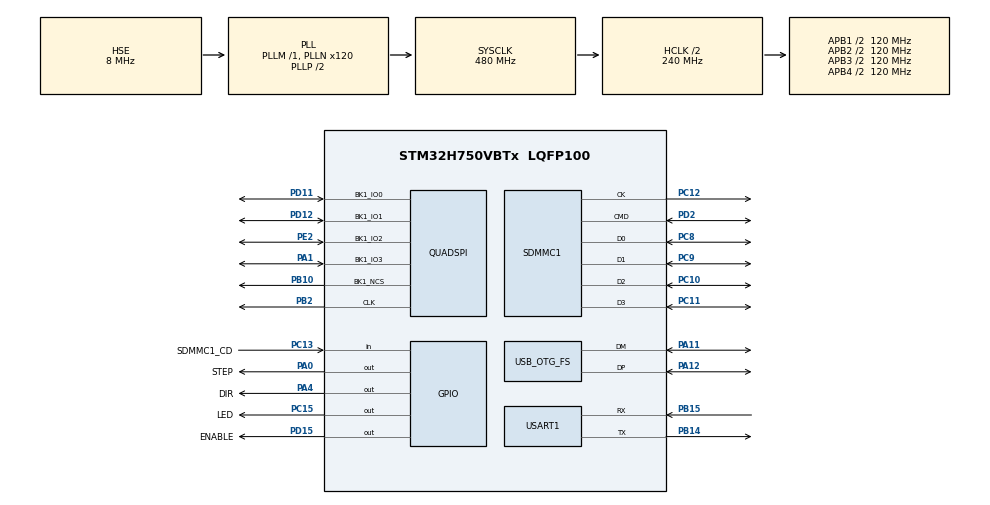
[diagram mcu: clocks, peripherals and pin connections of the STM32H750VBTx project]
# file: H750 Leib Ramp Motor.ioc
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CORTEX_M7.CPU_DCache=Enabled
CORTEX_M7.CPU_ICache=Enabled
Mcu.Family=STM32H7
Mcu.Name=STM32H750VBTx
Mcu.Package=LQFP100
NVIC.OTG_FS_EP1_IN_IRQn=true\:3\:0\:true\:false\:true\:true\:true
NVIC.OTG_FS_EP1_OUT_IRQn=true\:3\:0\:true\:false\:true\:true\:true
NVIC.OTG_FS_IRQn=true\:0\:0\:false\:false\:true\:false\:true
NVIC.PriorityGroup=NVIC_PRIORITYGROUP_4
NVIC.TIM5_IRQn=true\:0\:0\:false\:false\:true\:true\:true
NVIC.TIM6_DAC_IRQn=true\:1\:0\:true\:false\:true\:true\:true
NVIC.USART1_IRQn=true\:4\:0\:true\:false\:true\:true\:true
PA0.GPIO_Label=STEP
PA0.Signal=GPIO_Output
PA1.Mode=Single Bank 1
PA1.Signal=QUADSPI_BK1_IO3
PA11.Mode=Device_Only
PA11.Signal=USB_OTG_FS_DM
PA12.Mode=Device_Only
PA12.Signal=USB_OTG_FS_DP
PA13\ (JTMS/SWDIO).Mode=Serial_Wire
PA13\ (JTMS/SWDIO).Signal=DEBUG_JTMS-SWDIO
PA14\ (JTCK/SWCLK).Mode=Serial_Wire
PA14\ (JTCK/SWCLK).Signal=DEBUG_JTCK-SWCLK
PA4.GPIO_Label=DIR
PA4.Signal=GPIO_Output
PB10.Mode=Single Bank 1
PB10.Signal=QUADSPI_BK1_NCS
PB14.Mode=Asynchronous
PB14.Signal=USART1_TX
PB15.Mode=Asynchronous
PB15.Signal=USART1_RX
PB2.Mode=Single Bank 1
PB2.Signal=QUADSPI_CLK
PC10.Mode=SD_4_bits_Wide_bus
PC10.Signal=SDMMC1_D2
PC11.Mode=SD_4_bits_Wide_bus
PC11.Signal=SDMMC1_D3
PC12.Mode=SD_4_bits_Wide_bus
PC12.Signal=SDMMC1_CK
PC13.GPIO_Label=SDMMC1_CD
PC13.Signal=GPIO_Input
PC15-OSC32_OUT\ (OSC32_OUT).GPIO_Label=LED
PC15-OSC32_OUT\ (OSC32_OUT).Signal=GPIO_Output
PC8.Mode=SD_4_bits_Wide_bus
PC8.Signal=SDMMC1_D0
PC9.Mode=SD_4_bits_Wide_bus
PC9.Signal=SDMMC1_D1
PD11.Mode=Single Bank 1
PD11.Signal=QUADSPI_BK1_IO0
PD12.Mode=Single Bank 1
PD12.Signal=QUADSPI_BK1_IO1
PD15.GPIO_Label=ENABLE
PD15.Signal=GPIO_Output
PD2.Mode=SD_4_bits_Wide_bus
PD2.Signal=SDMMC1_CMD
PE2.Mode=Single Bank 1
PE2.Signal=QUADSPI_BK1_IO2
PH0-OSC_IN\ (PH0).Mode=HSE-External-Oscillator
PH0-OSC_IN\ (PH0).Signal=RCC_OSC_IN
PH1-OSC_OUT\ (PH1).Mode=HSE-External-Oscillator
PH1-OSC_OUT\ (PH1).Signal=RCC_OSC_OUT
ProjectManager.HeapSize=0x200
ProjectManager.StackSize=0x400
ProjectManager.TargetToolchain=STM32CubeIDE
RCC.ADCFreq_Value=120000000
RCC.APB1Freq_Value=120000000
RCC.APB2Freq_Value=120000000
RCC.APB3Freq_Value=120000000
RCC.APB4Freq_Value=120000000
RCC.CortexFreq_Value=480000000
RCC.D1PPRE=RCC_APB3_DIV2
RCC.D2PPRE1=RCC_APB1_DIV2
RCC.D2PPRE2=RCC_APB2_DIV2
RCC.D3PPRE=RCC_APB4_DIV2
RCC.DIVM1=1
RCC.DIVM2=1
RCC.DIVN1=120
RCC.DIVN2=30
RCC.DIVQ1=20
RCC.DIVR2=10
RCC.HCLKFreq_Value=240000000
RCC.HPRE=RCC_HCLK_DIV2
RCC.HSE_VALUE=8000000
RCC.PLL2FRACN=0
RCC.PLLFRACN=0
RCC.QSPICLockSelection=RCC_QSPICLKSOURCE_PLL2
RCC.SDMMC1CLockSelection=RCC_SDMMCCLKSOURCE_PLL2
RCC.SYSCLKFreq_VALUE=480000000
RCC.SYSCLKSource=RCC_SYSCLKSOURCE_PLLCLK
RCC.USBFreq_Value=48000000
TIM5.Prescaler=240-1
TIM6.Period=24*2
TIM6.Prescaler=10-1
USART1.VirtualMode-Asynchronous=VM_ASYNC
USB_DEVICE.CLASS_NAME_FS=CDC
USB_DEVICE.VirtualMode-CDC_FS=Cdc
USB_DEVICE.VirtualModeFS=Cdc_FS
USB_OTG_FS.VirtualMode=Device_Only
VP_TIM5_VS_ClockSourceINT.Mode=Internal
VP_TIM6_VS_ClockSourceINT.Mode=Enable_Timer
VP_USB_DEVICE_VS_USB_DEVICE_CDC_FS.Mode=CDC_FS
board=custom

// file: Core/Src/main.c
/* USER CODE BEGIN Header */
/**
  ******************************************************************************
  * @file           : main.c
  * @brief          : Main program body
  ******************************************************************************
  * @attention
  *
  * <h2><center>&copy; Copyright (c) 2020 STMicroelectronics.
  * All rights reserved.</center></h2>
  *
  * This software component is licensed by ST under BSD 3-Clause license,
  * the "License"; You may not use this file except in compliance with the
  * License. You may obtain a copy of the License at:
  *                        opensource.org/licenses/BSD-3-Clause
  *
  ******************************************************************************
  */
/* USER CODE END Header */

#include "main.h"
#include "quadspi.h"
#include "sdmmc.h"
#include "tim.h"
#include "usart.h"
#include "usb_device.h"
#include "gpio.h"

/* USER CODE BEGIN Includes */
#include "usbd_cdc_if.h"
#include "StepperMotor.h"

/* USER CODE END Includes */

/* USER CODE BEGIN PD */
#define UART_RX_BUFFER_SIZE				20

/* USER CODE END PD */

/* USER CODE BEGIN PV */
static char* HelloMessage = "STM32H750 Leib Ramp V0.1\n";

float RxNumber = 0;
char Str[30] = "Pos :   ";
uint8_t UART_RxBuffer[10];
uint8_t UART_RxCmd[UART_RX_BUFFER_SIZE];

/* USER CODE END PV */

void SystemClock_Config(void);

/* USER CODE BEGIN 0 */

void SendOK(void)
{
	CDC_Transmit_FS((uint8_t*)("OK\n"), 3);
	HAL_UART_Transmit_IT(&huart1, (uint8_t*)("OK\n"), 3);
}

// 현재 위치를 통신포트로 전송한다.
void DisplayPosition(void)
{
	//sprintf(Str, "Pos : %9.2f\n", GetPosition());
	sprintf(Str, "Pos : %.3f\n", GetPosition());

	CDC_Transmit_FS((uint8_t *)Str, strlen(Str));
	HAL_UART_Transmit_IT(&huart1, (uint8_t *)Str, strlen(Str));
}

void DisplayInfo(void)
{
	char InfoStr[100];

	sprintf(InfoStr, "Acc : %ld\nSpd : %.3f\nPos : %.3f\n", GetAcceleration(), GetSpeed(), GetPosition());
	CDC_Transmit_FS((uint8_t *)InfoStr, strlen(InfoStr));
	HAL_UART_Transmit_IT(&huart1, (uint8_t *)InfoStr, strlen(InfoStr));
}

// 인터럽트 우선순위를 모터 타이머 보다 낮게 설정한다.
// 안그러면 모터가 틱틱거리기도 한다.
void HAL_SYSTICK_Callback(void)
{
	static int cnt = 0;

	cnt++;
	if(cnt > 500)
	{
		cnt = 0;

		HAL_GPIO_TogglePin(LED_GPIO_Port, LED_Pin);

		if(GetState() == STATE_BUSY)
		{
			DisplayPosition();
		}
	}
}

// usbd_cdc_if.c에서 데이터가 수신되면 불려지게 함
// 새로운 명령어(기능)을 추가하려면 여기에서 명령어를 추가하여 인식하게 한다.
void ExecuteCommand(uint8_t* Buf, uint32_t len)
{
	int Sign = 1, Point = 0, i;
	uint8_t cmd = 0;

	for(i = 0; i < len; i++ )
	{
    if((Buf[i] >= 'a') && (Buf[i] <= 'z')) Buf[i] = Buf[i] - 'a' + 'A';		// 대문자로 바꿈

		// 명령어 종류를 구분
		switch(Buf[i])
		{
			case 'A':	// 가속도 설정
			case 'S':	// 속도 설정
			case 'L':	// 현위치 재설정
			case 'G':	// 현위치 표시
			case 'D':	// 상대 위치 이동
			case 'P':	// 절대 위치 이동
			case 'E':	// 즉시 정지
			case 'I':	// 현재 설정 상태 표시
      cmd = Buf[i];
				break;

			default:
				continue;
		}
		if(cmd != 0) break;
	}
	if(i == len)	// 스트링안에 인식가능 명령어가 없슴.
	{
		CDC_Transmit_FS((uint8_t*)("NG\n"), 3);
		HAL_UART_Transmit_IT(&huart1, (uint8_t*)("NG\n"), 3);

		return;
	}

	// 전달된 값을 계산(문자열을 숫자로 바꿈)
	float Pow = 0.1f;
	RxNumber = 0.0f;
	for(; i < len; i++)
	{
		if(Buf[i] == '-') Sign = -1;
		if(Buf[i] == '.') Point = 1;
		if(Buf[i] < '0' || Buf[i] > '9') continue;

		if(Point)
		{
			//RxNumber += (Buf[i] - '0') * powf(0.1, Point);	// powf() 가 큰 함수라서 대체
			//Point++;
			RxNumber += (Buf[i] - '0') * Pow;
			Pow *= 0.1f;
		}
		else
		{
			RxNumber *= 10.0f;
			RxNumber += Buf[i] - '0';
		}
	}
	RxNumber *= Sign;

	// 명령어 실행
	switch(cmd)
	{
		case 'A':			// 가속도 설정
			SetAcceleration(RxNumber);
			SendOK();		// 즉시 처리 명령어 이므로 바로 응답함
			break;

		case 'S':			// 속도 설정
			SetSpeed(RxNumber);
      SendOK();
			break;

		case 'L':			// 현위치 재설정
			SetPosition(RxNumber);
      SendOK();
			break;

		case 'G':			// 현위치 표시
			DisplayPosition();
			break;

		case 'D':			// 상대 위치 이동
			MoveDistance(RxNumber);
			break;

		case 'P':			// 절대 위치 이동
			MovePosition(RxNumber);
			break;

		case 'E':			// 즉시 정지
			StopEMS();
      SendOK();
			break;

		case 'I':			// 현재 설정 상태 표시
			DisplayInfo();
			break;
	}
}

// 동작이 끝나면 불려지는 콜백 함수
void MoveEndCallback(void)
{
	sprintf(Str, "Pos : %.3f\nOK\n", GetPosition());
	CDC_Transmit_FS((uint8_t *)Str, strlen(Str));
	HAL_UART_Transmit_IT(&huart1, (uint8_t *)Str, strlen(Str));
}

// USART에서 명령이 오면 실행한다.
void HAL_UART_RxCpltCallback(UART_HandleTypeDef *huart)
{
	static int pos = 0;

  UART_RxCmd[pos] = UART_RxBuffer[0];
  if(pos < UART_RX_BUFFER_SIZE)
  {
  	pos++;
  }

  if(UART_RxBuffer[0] == '\n')
  {
  	ExecuteCommand(UART_RxCmd, pos);
  	pos = 0;
  }

  HAL_UART_Receive_IT(&huart1, UART_RxBuffer, 1);
}

/* USER CODE END 0 */

int main(void)
{

  /* Enable I-Cache---------------------------------------------------------*/
  SCB_EnableICache();

  /* Enable D-Cache---------------------------------------------------------*/
  SCB_EnableDCache();

  /* MCU Configuration--------------------------------------------------------*/

  /* Reset of all peripherals, Initializes the Flash interface and the Systick. */
  HAL_Init();

  /* Configure the system clock */
  SystemClock_Config();

  /* Initialize all configured peripherals */
  MX_GPIO_Init();
  MX_QUADSPI_Init();
  MX_SDMMC1_SD_Init();
  MX_USART1_UART_Init();
  MX_TIM6_Init();
  MX_USB_DEVICE_Init();
  MX_TIM5_Init();
  /* USER CODE BEGIN 2 */
  InitStepperMotor(25, 100);
  EnableMotor();

  /* USER CODE END 2 */

  /* Infinite loop */
  /* USER CODE BEGIN WHILE */
  HAL_UART_Transmit_IT(&huart1, (uint8_t *)HelloMessage, strlen(HelloMessage));
  HAL_UART_Receive_IT(&huart1, UART_RxBuffer, 1);   // USART1으로 1바이트씩 받자

  // USART으로 부터 명령이 들어오므로 RX 인터럽트 서비스 루틴인 HAL_UART_RxCpltCallback() 함수에서
  // 모든 것이 시작된다.  그러므로 main()의 무한루프에서는 할 것이 없다.
  // 또는 USB CDC로 사용할 경우 usbd_cdc_if.c 에 있는 CDC_Receive_FS(...) 함수에서 하나의 명령 문장이
  // 들어오면 ExecuteCommand()로 보내 처리하게 했다.

  while (1)
  {
    /* USER CODE END WHILE */

  }
}

void SystemClock_Config(void)
{
  RCC_OscInitTypeDef RCC_OscInitStruct = {0};
  RCC_ClkInitTypeDef RCC_ClkInitStruct = {0};
  RCC_PeriphCLKInitTypeDef PeriphClkInitStruct = {0};

  /** Supply configuration update enable
  */
  HAL_PWREx_ConfigSupply(PWR_LDO_SUPPLY);
  /** Configure the main internal regulator output voltage
  */
  __HAL_PWR_VOLTAGESCALING_CONFIG(PWR_REGULATOR_VOLTAGE_SCALE0);

  while(!__HAL_PWR_GET_FLAG(PWR_FLAG_VOSRDY)) {}
  /** Macro to configure the PLL clock source
  */
  __HAL_RCC_PLL_PLLSOURCE_CONFIG(RCC_PLLSOURCE_HSE);
  /** Initializes the CPU, AHB and APB busses clocks
  */
  RCC_OscInitStruct.OscillatorType = RCC_OSCILLATORTYPE_HSE;
  RCC_OscInitStruct.HSEState = RCC_HSE_ON;
  RCC_OscInitStruct.PLL.PLLState = RCC_PLL_ON;
  RCC_OscInitStruct.PLL.PLLSource = RCC_PLLSOURCE_HSE;
  RCC_OscInitStruct.PLL.PLLM = 1;
  RCC_OscInitStruct.PLL.PLLN = 120;
  RCC_OscInitStruct.PLL.PLLP = 2;
  RCC_OscInitStruct.PLL.PLLQ = 20;
  RCC_OscInitStruct.PLL.PLLR = 2;
  RCC_OscInitStruct.PLL.PLLRGE = RCC_PLL1VCIRANGE_3;
  RCC_OscInitStruct.PLL.PLLVCOSEL = RCC_PLL1VCOWIDE;
  RCC_OscInitStruct.PLL.PLLFRACN = 0;
  if (HAL_RCC_OscConfig(&RCC_OscInitStruct) != HAL_OK)
  {
    Error_Handler();
  }
  /** Initializes the CPU, AHB and APB busses clocks
  */
  RCC_ClkInitStruct.ClockType = RCC_CLOCKTYPE_HCLK|RCC_CLOCKTYPE_SYSCLK
                              |RCC_CLOCKTYPE_PCLK1|RCC_CLOCKTYPE_PCLK2
                              |RCC_CLOCKTYPE_D3PCLK1|RCC_CLOCKTYPE_D1PCLK1;
  RCC_ClkInitStruct.SYSCLKSource = RCC_SYSCLKSOURCE_PLLCLK;
  RCC_ClkInitStruct.SYSCLKDivider = RCC_SYSCLK_DIV1;
  RCC_ClkInitStruct.AHBCLKDivider = RCC_HCLK_DIV2;
  RCC_ClkInitStruct.APB3CLKDivider = RCC_APB3_DIV2;
  RCC_ClkInitStruct.APB1CLKDivider = RCC_APB1_DIV2;
  RCC_ClkInitStruct.APB2CLKDivider = RCC_APB2_DIV2;
  RCC_ClkInitStruct.APB4CLKDivider = RCC_APB4_DIV2;

  if (HAL_RCC_ClockConfig(&RCC_ClkInitStruct, FLASH_LATENCY_4) != HAL_OK)
  {
    Error_Handler();
  }
  PeriphClkInitStruct.PeriphClockSelection = RCC_PERIPHCLK_USART1|RCC_PERIPHCLK_SDMMC
                              |RCC_PERIPHCLK_USB|RCC_PERIPHCLK_QSPI;
  PeriphClkInitStruct.PLL2.PLL2M = 1;
  PeriphClkInitStruct.PLL2.PLL2N = 30;
  PeriphClkInitStruct.PLL2.PLL2P = 2;
  PeriphClkInitStruct.PLL2.PLL2Q = 2;
  PeriphClkInitStruct.PLL2.PLL2R = 10;
  PeriphClkInitStruct.PLL2.PLL2RGE = RCC_PLL2VCIRANGE_3;
  PeriphClkInitStruct.PLL2.PLL2VCOSEL = RCC_PLL2VCOWIDE;
  PeriphClkInitStruct.PLL2.PLL2FRACN = 0;
  PeriphClkInitStruct.QspiClockSelection = RCC_QSPICLKSOURCE_PLL2;
  PeriphClkInitStruct.SdmmcClockSelection = RCC_SDMMCCLKSOURCE_PLL2;
  PeriphClkInitStruct.Usart16ClockSelection = RCC_USART16CLKSOURCE_D2PCLK2;
  PeriphClkInitStruct.UsbClockSelection = RCC_USBCLKSOURCE_PLL;
  if (HAL_RCCEx_PeriphCLKConfig(&PeriphClkInitStruct) != HAL_OK)
  {
    Error_Handler();
  }
  /** Enable USB Voltage detector
  */
  HAL_PWREx_EnableUSBVoltageDetector();
}

void Error_Handler(void)
{
}

/************************ (C) COPYRIGHT STMicroelectronics *****END OF FILE****/
